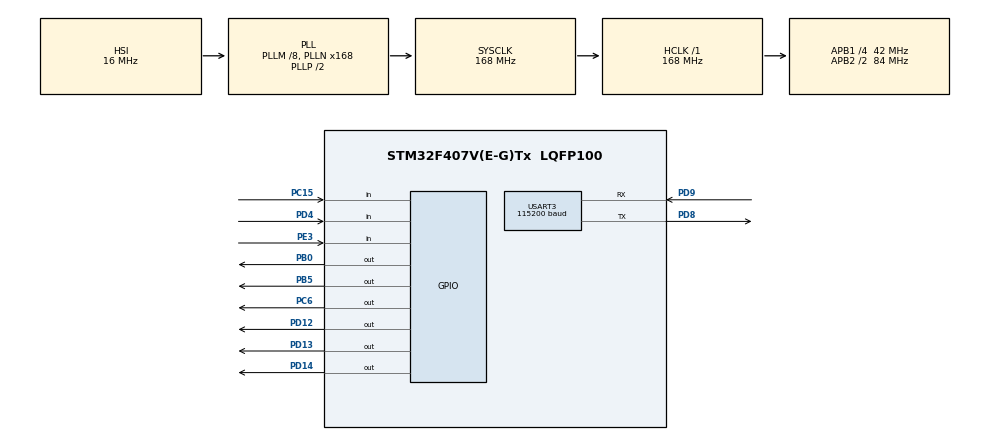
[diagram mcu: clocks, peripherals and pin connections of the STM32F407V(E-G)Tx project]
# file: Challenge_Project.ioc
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Mcu.Family=STM32F4
Mcu.Name=STM32F407V(E-G)Tx
Mcu.Package=LQFP100
NVIC.PriorityGroup=NVIC_PRIORITYGROUP_4
NVIC.USART3_IRQn=true\:0\:0\:false\:true\:true\:1\:true\:true\:true
PB0.Signal=GPIO_Output
PB5.Signal=GPIO_Output
PC15-OSC32_OUT.Signal=GPIO_Input
PC6.Signal=GPIO_Output
PD12.Signal=GPIO_Output
PD13.Signal=GPIO_Output
PD14.Signal=GPIO_Output
PD4.Signal=GPIO_Input
PD8.Mode=Asynchronous
PD8.Signal=USART3_TX
PD9.Mode=Asynchronous
PD9.Signal=USART3_RX
PE3.Signal=GPIO_Input
PH0-OSC_IN.Mode=HSE-External-Oscillator
PH0-OSC_IN.Signal=RCC_OSC_IN
PH1-OSC_OUT.Mode=HSE-External-Oscillator
PH1-OSC_OUT.Signal=RCC_OSC_OUT
ProjectManager.HeapSize=0x200
ProjectManager.StackSize=0x400
ProjectManager.TargetToolchain=STM32CubeIDE
RCC.48MHZClocksFreq_Value=84000000
RCC.AHBFreq_Value=168000000
RCC.APB1CLKDivider=RCC_HCLK_DIV4
RCC.APB1Freq_Value=42000000
RCC.APB1TimFreq_Value=84000000
RCC.APB2CLKDivider=RCC_HCLK_DIV2
RCC.APB2Freq_Value=84000000
RCC.APB2TimFreq_Value=168000000
RCC.CortexFreq_Value=168000000
RCC.HCLKFreq_Value=168000000
RCC.HSE_VALUE=8000000
RCC.HSI_VALUE=16000000
RCC.LSE_VALUE=32768
RCC.PLLM=8
RCC.PLLN=168
RCC.SYSCLKFreq_VALUE=168000000
RCC.SYSCLKSource=RCC_SYSCLKSOURCE_PLLCLK
RCC.VCOOutputFreq_Value=336000000
USART3.BaudRate=115200
USART3.VirtualMode=VM_ASYNC
board=custom

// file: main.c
/* USER CODE BEGIN Header */
/**
  ******************************************************************************
  * @file           : main.c
  * @brief          : Main program body
  ******************************************************************************
  * @attention
  *
  * Copyright (c) 2024 STMicroelectronics.
  * All rights reserved.
  *
  * This software is licensed under terms that can be found in the LICENSE file
  * in the root directory of this software component.
  * If no LICENSE file comes with this software, it is provided AS-IS.
  *
  ******************************************************************************
  */
/* USER CODE END Header */
#include "main.h"
#include "usart.h"
#include "gpio.h"

/* USER CODE BEGIN PTD */

typedef struct {
    GPIO_TypeDef *port;
    uint16_t pin;
} GPIO_PinConfig;

typedef enum {
	LEFT_LED,
	RIGHT_LED
}SelectLED;
/* USER CODE END PTD */

/* USER CODE BEGIN PV */

GPIO_PinState Button_state[4];

GPIO_PinState last_Button_state[4] = {GPIO_PIN_RESET,GPIO_PIN_RESET,GPIO_PIN_RESET,GPIO_PIN_RESET};

GPIO_PinState led_state[2][3] = {
		{GPIO_PIN_SET,GPIO_PIN_SET,GPIO_PIN_SET},
		{GPIO_PIN_SET,GPIO_PIN_SET,GPIO_PIN_SET}
};

GPIO_PinConfig Buttones[4] = {
    {GPIOE, GPIO_PIN_3},
    {GPIOC, GPIO_PIN_15},
    {GPIOD, GPIO_PIN_4},
	{GPIOD, GPIO_PIN_10}
};

GPIO_PinConfig leds[2][3] = {
    {{GPIOD, GPIO_PIN_12}, {GPIOD, GPIO_PIN_13}, {GPIOD, GPIO_PIN_14}},
    {{GPIOC, GPIO_PIN_6}, {GPIOB, GPIO_PIN_5}, {GPIOB, GPIO_PIN_0}}
};

SelectLED SelectedLED = LEFT_LED;

uint8_t uart3_rx_data;
uint8_t uart3_rx_flag;

/* USER CODE END PV */

void SystemClock_Config(void);
static void MX_NVIC_Init(void);

int main(void)
{

  /* MCU Configuration--------------------------------------------------------*/

  /* Reset of all peripherals, Initializes the Flash interface and the Systick. */
  HAL_Init();

  /* Configure the system clock */
  SystemClock_Config();

  /* Initialize all configured peripherals */
  MX_GPIO_Init();
  MX_USART3_UART_Init();

  /* Initialize interrupts */
  MX_NVIC_Init();
  /* USER CODE BEGIN 2 */

  HAL_UART_Receive_IT(&huart3, &uart3_rx_data, sizeof(uart3_rx_data));

  for (uint8_t i = 0; i < 2; i++)
  {
	  for (uint8_t j = 0; j < 3; j++)
	  {
		  HAL_GPIO_WritePin(leds[i][j].port, leds[i][j].pin, GPIO_PIN_SET);
	  }
  }

  uint8_t led_rx_data;
  /* USER CODE END 2 */

  /* Infinite loop */
  while (1)
  {

    /* USER CODE BEGIN 3 */

      for (uint8_t i = 0; i < 4; ++i) {
          Button_state[i] = HAL_GPIO_ReadPin(Buttones[i].port, Buttones[i].pin);
      }

      if (Button_state[3] != last_Button_state[3]) {
    	  if (last_Button_state[3] == GPIO_PIN_RESET && Button_state[3] == GPIO_PIN_SET){
			  if (SelectedLED == LEFT_LED) SelectedLED = RIGHT_LED;
			  else SelectedLED = LEFT_LED;
		  }
      }

      last_Button_state[3] = Button_state[3];

      for (uint8_t i = 0; i < 3; ++i) {
          if (Button_state[i] != last_Button_state[i]) {
              if (last_Button_state[i] == GPIO_PIN_RESET && Button_state[i] == GPIO_PIN_SET) {
                  // PUSH
                  if (led_state[SelectedLED][i] == GPIO_PIN_SET) {
                      HAL_GPIO_WritePin(leds[SelectedLED][i].port, leds[SelectedLED][i].pin, GPIO_PIN_RESET);
                      led_state[SelectedLED][i] = GPIO_PIN_RESET;
                  } else {
                      HAL_GPIO_WritePin(leds[SelectedLED][i].port, leds[SelectedLED][i].pin, GPIO_PIN_SET);
                      led_state[SelectedLED][i] = GPIO_PIN_SET;
                  }
              } else if (last_Button_state[i] == GPIO_PIN_SET && Button_state[i] == GPIO_PIN_RESET) {
                  // PULL
              }
          }
          last_Button_state[i] = Button_state[i];
      }

      if(uart3_rx_flag){
    	  led_rx_data = (uart3_rx_data -'1');

    	  if(led_rx_data>=0 && led_rx_data<=2) {
			  if (led_state[SelectedLED][led_rx_data] == GPIO_PIN_SET) {
				  HAL_GPIO_WritePin(leds[SelectedLED][led_rx_data].port, leds[SelectedLED][led_rx_data].pin, GPIO_PIN_RESET);
				  led_state[SelectedLED][led_rx_data] = GPIO_PIN_RESET;
			  } else {
				  HAL_GPIO_WritePin(leds[SelectedLED][led_rx_data].port, leds[SelectedLED][led_rx_data].pin, GPIO_PIN_SET);
				  led_state[SelectedLED][led_rx_data] = GPIO_PIN_SET;
			  }
    	  }else if (led_rx_data == 3) {
			  if (SelectedLED == LEFT_LED) SelectedLED = RIGHT_LED;
			  else SelectedLED = LEFT_LED;
    	  }

		  uart3_rx_flag = 0;
      }
  }
  /* USER CODE END 3 */
}

void SystemClock_Config(void)
{
  RCC_OscInitTypeDef RCC_OscInitStruct = {0};
  RCC_ClkInitTypeDef RCC_ClkInitStruct = {0};

  /** Configure the main internal regulator output voltage
  */
  __HAL_RCC_PWR_CLK_ENABLE();
  __HAL_PWR_VOLTAGESCALING_CONFIG(PWR_REGULATOR_VOLTAGE_SCALE1);

  /** Initializes the RCC Oscillators according to the specified parameters
  * in the RCC_OscInitTypeDef structure.
  */
  RCC_OscInitStruct.OscillatorType = RCC_OSCILLATORTYPE_HSI;
  RCC_OscInitStruct.HSIState = RCC_HSI_ON;
  RCC_OscInitStruct.HSICalibrationValue = RCC_HSICALIBRATION_DEFAULT;
  RCC_OscInitStruct.PLL.PLLState = RCC_PLL_ON;
  RCC_OscInitStruct.PLL.PLLSource = RCC_PLLSOURCE_HSI;
  RCC_OscInitStruct.PLL.PLLM = 8;
  RCC_OscInitStruct.PLL.PLLN = 168;
  RCC_OscInitStruct.PLL.PLLP = RCC_PLLP_DIV2;
  RCC_OscInitStruct.PLL.PLLQ = 4;
  if (HAL_RCC_OscConfig(&RCC_OscInitStruct) != HAL_OK)
  {
    Error_Handler();
  }

  /** Initializes the CPU, AHB and APB buses clocks
  */
  RCC_ClkInitStruct.ClockType = RCC_CLOCKTYPE_HCLK|RCC_CLOCKTYPE_SYSCLK
                              |RCC_CLOCKTYPE_PCLK1|RCC_CLOCKTYPE_PCLK2;
  RCC_ClkInitStruct.SYSCLKSource = RCC_SYSCLKSOURCE_PLLCLK;
  RCC_ClkInitStruct.AHBCLKDivider = RCC_SYSCLK_DIV1;
  RCC_ClkInitStruct.APB1CLKDivider = RCC_HCLK_DIV4;
  RCC_ClkInitStruct.APB2CLKDivider = RCC_HCLK_DIV2;

  if (HAL_RCC_ClockConfig(&RCC_ClkInitStruct, FLASH_LATENCY_5) != HAL_OK)
  {
    Error_Handler();
  }
}

/**
  * @brief NVIC Configuration.
  * @retval None
  */
static void MX_NVIC_Init(void)
{
  /* USART3_IRQn interrupt configuration */
  HAL_NVIC_SetPriority(USART3_IRQn, 0, 0);
  HAL_NVIC_EnableIRQ(USART3_IRQn);
}

/* USER CODE BEGIN 4 */

void HAL_UART_RxCpltCallback(UART_HandleTypeDef *huart)
{
	if(huart->Instance == USART3) {
		HAL_UART_Receive_IT(&huart3, &uart3_rx_data, sizeof(uart3_rx_data));
		uart3_rx_flag = 1;
	}
}

/* USER CODE END 4 */

void Error_Handler(void)
{
  __disable_irq();
  while (1)
  {
  }
}
